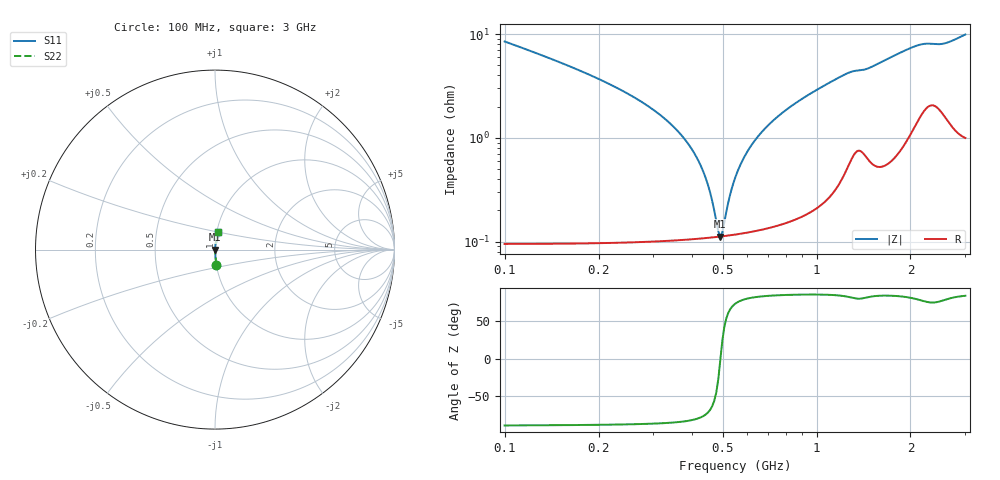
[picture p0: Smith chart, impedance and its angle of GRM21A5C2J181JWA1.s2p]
!Murata Part Number: GRM21A5C2J181JWA1
!These Parameters are Measured in Series Mode Connection
!Data Generated on Mar 30, 2021
!  o--ll--o
!Port1  Port2
!  o------o
!Operation Temp=25[degC], DC Bias Voltage=0[V]
!Freq. Start=100[MHz] Stop=3[GHz] 401[Steps]
# Hz S RI R 50
!Freq.(Hz) S11(Real) S11(Imag) S21(Real) S21(Imag) S12(Real) S12(Imag) S22(Real) S22(Imag)
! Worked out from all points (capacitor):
!   401 points, 100 MHz to 3 GHz, reference 50 ohm
!   read as one part in series: C = 180 pF near 114.5 MHz
!   lowest |Z| = 112 mohm at 491.5 MHz (marker M1)
!   series resonance near 492 MHz, so ESL is about 580 pH
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1e8  0.00808 -0.0841  0.9919 0.0841  0.9919 0.0841  0.00808 -0.0841
1.725e8  0.00298 -0.0449  0.997 0.0449  0.997 0.0449  0.00298 -0.0449
3.175e8  0.00127 -0.0163  0.9987 0.0163  0.9987 0.0163  0.00127 -0.0163
3.8275e8  0.00113 -0.00915  0.9989 0.00915  0.9989 0.00915  0.00113 -0.00915
4.1175e8  0.0011 -0.00646  0.9989 0.00646  0.9989 0.00646  0.0011 -0.00646
4.335e8  0.0011 -0.00458  0.9989 0.00458  0.9989 0.00458  0.0011 -0.00458
4.5525e8  0.0011 -0.00281  0.9989 0.00281  0.9989 0.00281  0.0011 -0.00281
4.77e8  0.00111 -0.00112  0.9989 0.00112  0.9989 0.00112  0.00111 -0.00112
4.915e8  0.00112 -3.53e-05  0.9989 3.53e-05  0.9989 3.53e-05  0.00112 -3.53e-05
5.06e8  0.00113 0.00102  0.9989 -0.00102  0.9989 -0.00102  0.00113 0.00102
5.2775e8  0.00115 0.00254  0.9988 -0.00254  0.9988 -0.00254  0.00115 0.00254
5.4225e8  0.00117 0.00353  0.9988 -0.00353  0.9988 -0.00353  0.00117 0.00353
5.8575e8  0.00124 0.00636  0.9988 -0.00636  0.9988 -0.00636  0.00124 0.00636
6.5825e8  0.0014 0.0107  0.9986 -0.0107  0.9986 -0.0107  0.0014 0.0107
7.525e8  0.00168 0.016  0.9983 -0.016  0.9983 -0.016  0.00168 0.016
8.9025e8  0.00225 0.0232  0.9977 -0.0232  0.9977 -0.0232  0.00225 0.0232
1.0715e9  0.00351 0.0323  0.9965 -0.0323  0.9965 -0.0323  0.00351 0.0323
1.26725e9  0.00715 0.0415  0.9929 -0.0415  0.9929 -0.0415  0.00715 0.0415
1.55e9  0.00778 0.0497  0.9922 -0.0497  0.9922 -0.0497  0.00778 0.0497
2.03575e9  0.017 0.0719  0.983 -0.0719  0.983 -0.0719  0.017 0.0719
2.5215e9  0.0229 0.0753  0.9771 -0.0753  0.9771 -0.0753  0.0229 0.0753
3e9  0.0192 0.0958  0.9808 -0.0958  0.9808 -0.0958  0.0192 0.0958
